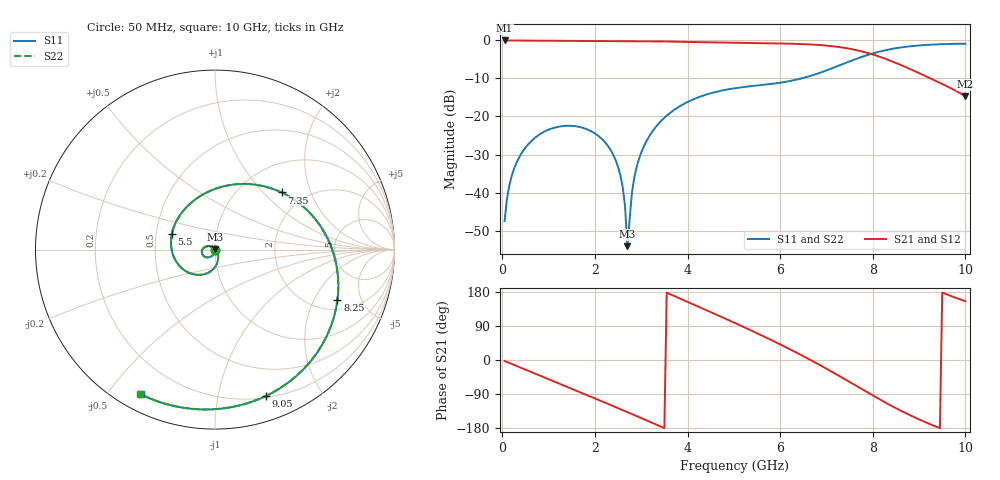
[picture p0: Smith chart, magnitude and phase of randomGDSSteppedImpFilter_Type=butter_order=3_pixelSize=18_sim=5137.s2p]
! freq	dB(S11)	phase(S11)	dB(S12)	phase(S12)
!  dB(S21)	phase(S21)	dB(S22)	phase(S22)
!S-par simulation data
#  GHz  S  DB  R 50
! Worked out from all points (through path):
!   200 points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, 50 MHz to 10 GHz, reference 50 ohm
!   highest |S21| = 0.00 dB at 50 MHz (marker M1); lowest = -14.7 dB at 10 GHz (marker M2)
!   group delay of S21, straight-line fit = 161 ps
!   lowest |S11| = -54.1 dB at 2.7 GHz (marker M3), VSWR 1.00, Z = 50.1 + j0.188 ohm
!   |S11| at or under -10 dB: start of sweep to 6.458 GHz
!   |S22| runs from -54.1 to -0.9 dB; largest |S21 - S12| = 0
!   S11 on the Smith chart (normalised r, x): 50 MHz: 1.00, -0.01; 5.5 GHz: 0.60, +0.11; 7.35 GHz: 1.53, +1.28; 8.25 GHz: 2.52, -3.12; 9.05 GHz: 0.21, -1.38; 10 GHz: 0.07, -0.61
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0.05  -47.51 -88.3  -0.00 -2.6  -0.00 -2.6  -47.51 -88.3
0.2  -35.77 -99.1  -0.02 -10.2  -0.02 -10.2  -35.77 -99.1
0.55  -27.46 -118.3  -0.05 -27.9  -0.05 -27.9  -27.46 -118.3
1.75  -23.02 180.0  -0.12 -88.5  -0.12 -88.5  -23.02 -180.0
2.45  -31.55 142.2  -0.15 -124.4  -0.15 -124.4  -31.55 142.2
2.6  -38.54 130.9  -0.16 -132.2  -0.16 -132.2  -38.54 131.0
2.65  -43.50 123.2  -0.16 -134.8  -0.16 -134.8  -43.51 123.3
2.7  -54.10 72.2  -0.16 -137.4  -0.16 -137.4  -54.12 72.3
2.8  -39.98 -45.7  -0.17 -142.7  -0.17 -142.7  -39.99 -45.7
2.9  -33.32 -55.1  -0.18 -147.9  -0.18 -147.9  -33.32 -55.1
3.4  -21.56 -84.0  -0.25 -174.4  -0.25 -174.4  -21.56 -84.0
4.15  -15.36 -124.6  -0.42 145.4  -0.42 145.4  -15.36 -124.5
5.05  -12.52 -174.0  -0.62 96.2  -0.62 96.2  -12.52 -173.9
5.5  -11.85 160.3  -0.70 70.8  -0.70 70.8  -11.85 160.3
6.15  -10.81 121.0  -0.83 32.2  -0.83 32.2  -10.81 121.0
6.7  -9.16 85.4  -1.09 -2.8  -1.09 -2.8  -9.16 85.4
7.35  -6.21 40.6  -1.87 -47.4  -1.87 -47.4  -6.21 40.5
7.75  -4.38 12.2  -2.83 -75.9  -2.83 -75.9  -4.38 12.0
8.25  -2.64 -22.5  -4.72 -110.8  -4.72 -110.8  -2.64 -22.7
8.35  -2.38 -29.1  -5.18 -117.5  -5.18 -117.5  -2.38 -29.3
9.05  -1.27 -70.9  -8.87 -159.4  -8.87 -159.4  -1.27 -71.1
10  -0.86 -117.1  -14.72 155.2  -14.72 155.2  -0.87 -117.4
